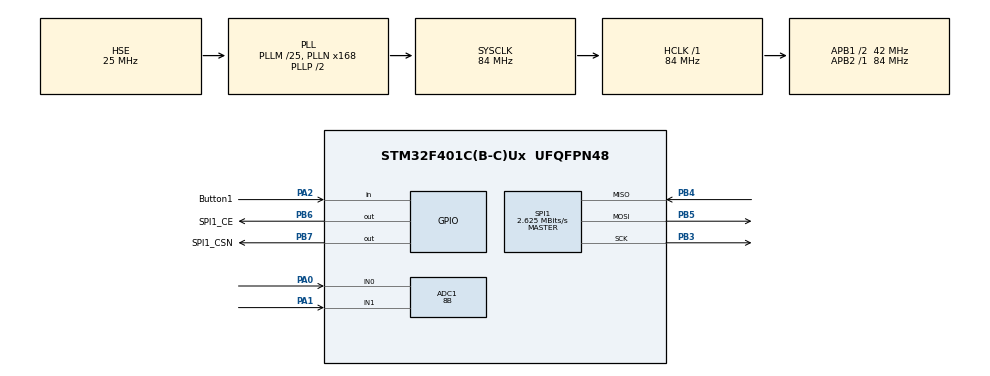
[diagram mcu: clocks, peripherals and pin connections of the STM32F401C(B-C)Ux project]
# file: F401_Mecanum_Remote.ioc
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Mcu.Family=STM32F4
RCC.PLLSourceVirtual=RCC_PLLSOURCE_HSE
PA2.GPIO_PuPd=GPIO_PULLUP
Dma.ADC1.0.Instance=DMA2_Stream0
RCC.CortexFreq_Value=84000000
ADC1.Rank-0\#ChannelRegularConversion=1
SPI1.VirtualType=VM_MASTER
ADC1.ContinuousConvMode=ENABLE
PH1\ -\ OSC_OUT.Mode=HSE-External-Oscillator
PB6.GPIO_Label=SPI1_CE
RCC.APB1CLKDivider=RCC_HCLK_DIV2
RCC.SYSCLKSource=RCC_SYSCLKSOURCE_PLLCLK
ProjectManager.StackSize=0x400
PA0-WKUP.Signal=ADCx_IN0
PA13.Signal=SYS_JTMS-SWDIO
Dma.ADC1.0.PeriphDataAlignment=DMA_PDATAALIGN_WORD
PH0\ -\ OSC_IN.Mode=HSE-External-Oscillator
PH0\ -\ OSC_IN.Signal=RCC_OSC_IN
ProjectManager.TargetToolchain=STM32CubeIDE
Dma.ADC1.0.Mode=DMA_CIRCULAR
SPI1.Direction=SPI_DIRECTION_2LINES
RCC.HCLKFreq_Value=84000000
ADC1.Resolution=ADC_RESOLUTION_8B
Dma.ADC1.0.Priority=DMA_PRIORITY_LOW
RCC.APB2TimFreq_Value=84000000
PB6.Signal=GPIO_Output
ADC1.Channel-1\#ChannelRegularConversion=ADC_CHANNEL_1
Dma.ADC1.0.Direction=DMA_PERIPH_TO_MEMORY
ADC1.InjNumberOfConversion=0
SPI1.CalculateBaudRate=2.625 MBits/s
NVIC.DMA2_Stream0_IRQn=true\:0\:0\:false\:false\:true\:false\:true
RCC.LSE_VALUE=32768
Dma.ADC1.0.MemDataAlignment=DMA_MDATAALIGN_WORD
PA1.Signal=ADCx_IN1
RCC.AHBFreq_Value=84000000
ADC1.Channel-0\#ChannelRegularConversion=ADC_CHANNEL_0
RCC.HSE_VALUE=25000000
PH1\ -\ OSC_OUT.Signal=RCC_OSC_OUT
PB3.Mode=Full_Duplex_Master
board=custom
RCC.VCOOutputFreq_Value=168000000
RCC.APB2Freq_Value=84000000
PB4.Mode=Full_Duplex_Master
SPI1.Mode=SPI_MODE_MASTER
PA14.Mode=Serial_Wire
Dma.ADC1.0.PeriphInc=DMA_PINC_DISABLE
PB5.Mode=Full_Duplex_Master
PB7.Signal=GPIO_Output
SH.ADCx_IN0.0=ADC1_IN0,IN0
ADC1.DMAContinuousRequests=ENABLE
ADC1.NbrOfConversion=2
PA13.Mode=Serial_Wire
Mcu.Name=STM32F401C(B-C)Ux
ADC1.SamplingTime-0\#ChannelRegularConversion=ADC_SAMPLETIME_144CYCLES
PA2.Signal=GPIO_Input
PB7.GPIO_Label=SPI1_CSN
RCC.48MHZClocksFreq_Value=42000000
PB3.Signal=SPI1_SCK
ADC1.SamplingTime-1\#ChannelRegularConversion=ADC_SAMPLETIME_144CYCLES
RCC.SYSCLKFreq_VALUE=84000000
Mcu.Package=UFQFPN48
PB5.Signal=SPI1_MOSI
ADC1.master=1
ADC1.Rank-1\#ChannelRegularConversion=2
PA2.GPIO_Label=Button1
PA14.Signal=SYS_JTCK-SWCLK
Dma.ADC1.0.MemInc=DMA_MINC_ENABLE
ProjectManager.HeapSize=0x200
RCC.HSI_VALUE=16000000
NVIC.PriorityGroup=NVIC_PRIORITYGROUP_4
ADC1.NbrOfConversionFlag=1
SH.ADCx_IN1.0=ADC1_IN1,IN1
RCC.PLLM=25
RCC.PLLN=168
RCC.APB1TimFreq_Value=84000000
Dma.ADC1.0.FIFOMode=DMA_FIFOMODE_DISABLE
Dma.Request0=ADC1
RCC.APB1Freq_Value=42000000
SPI1.BaudRatePrescaler=SPI_BAUDRATEPRESCALER_32
PB4.Signal=SPI1_MISO

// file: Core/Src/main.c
  /* USER CODE BEGIN Header */
/**
  ******************************************************************************
  * @file           : main.c
  * @brief          : Main program body
  ******************************************************************************
  * @attention
  *
  * <h2><center>&copy; Copyright (c) 2023 STMicroelectronics.
  * All rights reserved.</center></h2>
  *
  * This software component is licensed by ST under BSD 3-Clause license,
  * the "License"; You may not use this file except in compliance with the
  * License. You may obtain a copy of the License at:
  *                        opensource.org/licenses/BSD-3-Clause
  *
  ******************************************************************************
  */
/* USER CODE END Header */
#include "main.h"
#include "adc.h"
#include "dma.h"
#include "spi.h"
#include "gpio.h"

/* USER CODE BEGIN Includes */

#include "NRF24L01.h"
#include "stdio.h"

/* USER CODE END Includes */

/* USER CODE BEGIN PM */

	/* nRF24L01 */

		uint8_t Rxaddr[5] = {'S','T','E','S','S'};
		uint8_t TxData[8] = {0};

	/* ADC */

		int ADC_Read[2] = {0};
		int Button1 = 0;
		int Joystick_x = 0;
		int Joystick_y = 0;
		int Omega = 0;
		int State_button = 0;
		int Switch = 0;
		long last_time = 0, current_time = 0;;

/* USER CODE END PM */

void SystemClock_Config(void);
/* USER CODE BEGIN PFP */

	/* MAP JOYSTICK */

		double map(double x, double in_min, double in_max, double out_min, double out_max) {
		  return (x - in_min) * (out_max - out_min) / (in_max - in_min) + out_min;
		}

	/* TX DATA MASTER JOYSTICK */

		void nRF24l01_Master(){
			  TxData[1] = Joystick_x;
			  TxData[0] = Joystick_y;
			  TxData[2] = Omega;
			  TxData[3] = 5;
			  TxData[4] = 6;
			  TxData[5] = 7;
			  TxData[6] = 8;
			  TxData[7] = 9;
				NRF24_Transmit(TxData, 8); //NRF24_Transmit(data, size)
				HAL_Delay(5);
		}

	/* MAPING JOYSTICK */

		void Joystick() {
			  if (ADC_Read[0] >= 0 && ADC_Read[0] <= 120){
				  Joystick_x = map(ADC_Read[0], 0, 120, 0, 128);
			  }
			  if (ADC_Read[0] >= 130 && ADC_Read[0] <= 255){
				  Joystick_x = map(ADC_Read[0], 130, 255, 128, 255);
			  }
			  if (ADC_Read[0] > 120 && ADC_Read[0] < 130){
				  Joystick_x = 128;
			  }

			  if (ADC_Read[1] >= 0 && ADC_Read[1] <= 120){
				  Joystick_y = map(ADC_Read[1], 0, 120, 0, 128);
			  }
			  if (ADC_Read[1] >= 130 && ADC_Read[1] <= 255){
				  Joystick_y = map(ADC_Read[1], 130, 255, 128, 255);
			  }
			  if (ADC_Read[1] > 120 && ADC_Read[1] < 130){
				  Joystick_y = 128;
			  }

			  if (Switch == 0){
				  Joystick_y = Joystick_y;
				  Omega = 128;
			  }
			  else {
				  Omega = Joystick_y;
				  Joystick_y = 128;
			  }
		}

/* USER CODE END PFP */

int main(void)
{

  /* MCU Configuration--------------------------------------------------------*/

  /* Reset of all peripherals, Initializes the Flash interface and the Systick. */
  HAL_Init();

  /* Configure the system clock */
  SystemClock_Config();

  /* Initialize all configured peripherals */
  MX_GPIO_Init();
  MX_DMA_Init();
  MX_SPI1_Init();
  MX_ADC1_Init();
  /* USER CODE BEGIN 2 */

	  /* NRF24_TxMode */

		   NRF24_Init();
		   NRF24_TxMode(Rxaddr, 112, 8);
		   HAL_ADC_Start_DMA(&hadc1, &ADC_Read, 2);
		   HAL_Delay(50);

  /* USER CODE END 2 */

  /* Infinite loop */
  /* USER CODE BEGIN WHILE */
  while (1)
  {
	  Button1 = HAL_GPIO_ReadPin(Button1_GPIO_Port, Button1_Pin);

	  if (Button1 == 0 && State_button == 0){
		  State_button = 1;
		  last_time = HAL_GetTick();
	  }
	  if (Button1 == 1 && State_button == 1){
		  State_button = 0;
		  current_time = HAL_GetTick();
	  }
	  if (current_time - last_time > 100){
		  last_time = current_time;
		  Switch = !Switch;
	  }
	  Joystick();

	  nRF24l01_Master();

    /* USER CODE END WHILE */

  }
}

void SystemClock_Config(void)
{
  RCC_OscInitTypeDef RCC_OscInitStruct = {0};
  RCC_ClkInitTypeDef RCC_ClkInitStruct = {0};

  /** Configure the main internal regulator output voltage
  */
  __HAL_RCC_PWR_CLK_ENABLE();
  __HAL_PWR_VOLTAGESCALING_CONFIG(PWR_REGULATOR_VOLTAGE_SCALE2);
  /** Initializes the RCC Oscillators according to the specified parameters
  * in the RCC_OscInitTypeDef structure.
  */
  RCC_OscInitStruct.OscillatorType = RCC_OSCILLATORTYPE_HSE;
  RCC_OscInitStruct.HSEState = RCC_HSE_ON;
  RCC_OscInitStruct.PLL.PLLState = RCC_PLL_ON;
  RCC_OscInitStruct.PLL.PLLSource = RCC_PLLSOURCE_HSE;
  RCC_OscInitStruct.PLL.PLLM = 25;
  RCC_OscInitStruct.PLL.PLLN = 168;
  RCC_OscInitStruct.PLL.PLLP = RCC_PLLP_DIV2;
  RCC_OscInitStruct.PLL.PLLQ = 4;
  if (HAL_RCC_OscConfig(&RCC_OscInitStruct) != HAL_OK)
  {
    Error_Handler();
  }
  /** Initializes the CPU, AHB and APB buses clocks
  */
  RCC_ClkInitStruct.ClockType = RCC_CLOCKTYPE_HCLK|RCC_CLOCKTYPE_SYSCLK
                              |RCC_CLOCKTYPE_PCLK1|RCC_CLOCKTYPE_PCLK2;
  RCC_ClkInitStruct.SYSCLKSource = RCC_SYSCLKSOURCE_PLLCLK;
  RCC_ClkInitStruct.AHBCLKDivider = RCC_SYSCLK_DIV1;
  RCC_ClkInitStruct.APB1CLKDivider = RCC_HCLK_DIV2;
  RCC_ClkInitStruct.APB2CLKDivider = RCC_HCLK_DIV1;

  if (HAL_RCC_ClockConfig(&RCC_ClkInitStruct, FLASH_LATENCY_2) != HAL_OK)
  {
    Error_Handler();
  }
}

void Error_Handler(void)
{
  __disable_irq();
  while (1)
  {
  }
}

/************************ (C) COPYRIGHT STMicroelectronics *****END OF FILE****/
